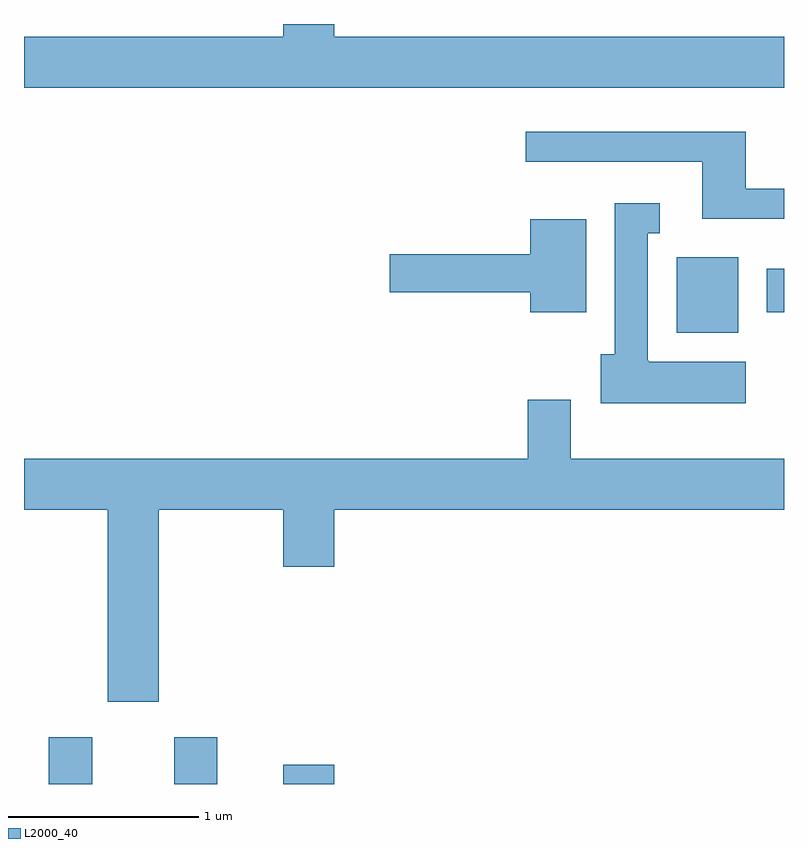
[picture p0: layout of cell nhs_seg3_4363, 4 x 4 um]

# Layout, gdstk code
import gdstk
lib = gdstk.Library(unit=1e-6, precision=1e-09)
def R(c, l, rs):  # rectangles x0, y0, x1, y1
    for r in rs: c.add(gdstk.rectangle(r[:2], r[2:], *l))
def P(c, l, *ps):  # polygons
    for p in ps: c.add(gdstk.Polygon(p, *l))
L2000_40 = (2000, 40)

nhs_seg3_4363 = lib.new_cell('nhs_seg3_4363')
R(nhs_seg3_4363, L2000_40, [(313.741,1137.892,313.969,1138.139), (314.401,1137.892,314.629,1138.139), (314.976,1137.892,315.244,1137.994), (317.046,1140.266,317.369,1140.664), (317.521,1140.376,317.611,1140.604)])
P(nhs_seg3_4363, L2000_40, [(317.611,1141.824),(315.244,1141.824),(315.244,1141.892),(314.976,1141.892),(314.976,1141.824),(313.611,1141.824),(313.611,1141.556),(317.611,1141.556)],
  [(317.611,1141.024),(317.409,1141.024),(317.409,1141.324),(316.253,1141.324),(316.253,1141.166),(317.181,1141.166),(317.181,1140.866),(317.611,1140.866)],
  [(317.409,1140.114),(316.9,1140.114),(316.9,1140.12),(316.894,1140.12),(316.894,1140.791),(316.958,1140.791),(316.958,1140.949),(316.721,1140.949),(316.721,1140.154),(316.646,1140.154),(316.646,1139.896),(317.409,1139.896)],
  [(316.569,1140.864),(316.276,1140.864),(316.276,1140.679),(315.536,1140.679),(315.536,1140.481),(316.276,1140.481),(316.276,1140.376),(316.569,1140.376)],
  [(314.319,1139.336),(314.976,1139.336),(314.976,1139.036),(315.244,1139.036),(315.244,1139.336),(317.611,1139.336),(317.611,1139.604),(316.489,1139.604),(316.489,1139.914),(316.261,1139.914),(316.261,1139.604),(313.611,1139.604),(313.611,1139.336),(314.051,1139.336),(314.051,1138.326),(314.319,1138.326)])

lib.write_gds('nhs_seg3_4363.gds')
